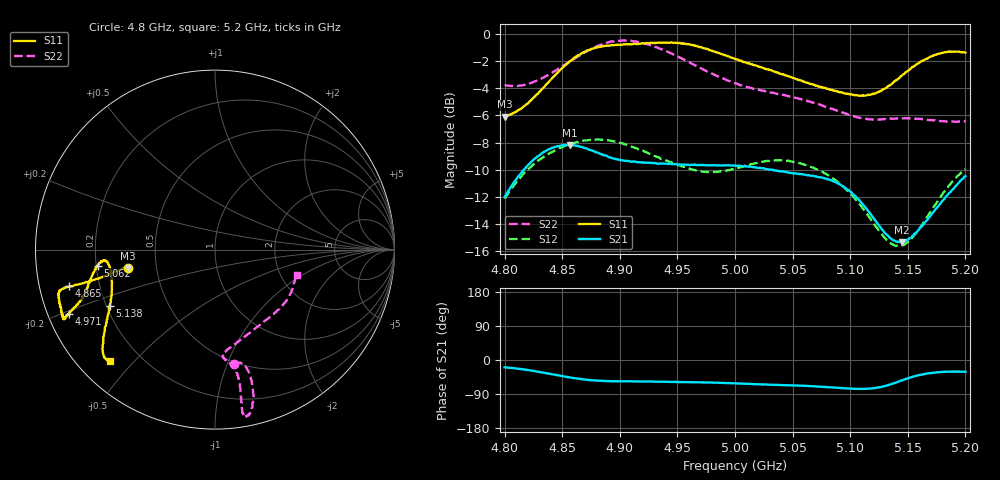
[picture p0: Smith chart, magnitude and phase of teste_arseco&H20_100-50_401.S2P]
! Network Analyzer HP8722D
! Hewlett-Packard
! Data name: Linha & Wilkinson
! Saver's name: Rodrigo Anjos
! Comments: Teste da utilização de aquisição
! continua pelo VNA HP8722D
! Time and date: 6/5/2025 15:54
!  Frequency  S11  S21  S12  S22
# HZ  S  MA R 50
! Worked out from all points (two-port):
!   401 points, 4.8 GHz to 5.2 GHz, reference 50 ohm
!   highest |S21| = -8.17 dB at 4.857 GHz (marker M1); lowest = -15.3 dB at 5.145 GHz (marker M2)
!   |S21| within 3 dB of the highest: 4.806 GHz to 5.093 GHz (286.5 MHz wide, 5.79 % of centre); 5.192021 GHz to end of sweep
!   lowest |S11| = -6.1 dB at 4.8 GHz (marker M3), VSWR 2.97, Z = 17 - j4.61 ohm
!   |S11| at or under -10 dB: nowhere
!   |S22| runs from -6.5 to -0.5 dB; largest |S21 - S12| = 0.62
!   S11 on the Smith chart (normalised r, x): 4.8 GHz: 0.34, -0.09; 4.865 GHz: 0.09, -0.12; 4.971 GHz: 0.06, -0.21; 5.062 GHz: 0.21, -0.07; 5.138 GHz: 0.21, -0.24; 5.2 GHz: 0.09, -0.43
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4.8e9  0.496 -168.1  0.2512 -19.4  0.248 -140.7  0.6484 -80.4
4.828e9  0.5993 -167.0  0.3528 -30.3  0.3381 -144.5  0.6735 -75.4
4.857e9  0.7948 -165.8  0.3906 -46.0  0.3926 -150.0  0.792 -74.6
4.865e9  0.8371 -165.9  0.3851 -49.7  0.4013 -151.5  0.8324 -75.2
4.867e9  0.8475 -165.8  0.3838 -50.6  0.4034 -151.8  0.842 -75.3
4.881e9  0.8931 -165.2  0.3655 -54.3  0.4092 -154.2  0.9043 -76.8
4.899e9  0.9114 -162.7  0.3445 -56.3  0.3987 -156.5  0.9432 -78.9
4.934e9  0.9276 -156.3  0.3328 -57.3  0.3511 -155.5  0.8844 -80.4
4.951e9  0.9247 -155.3  0.3307 -58.2  0.3286 -152.4  0.8228 -79.9
4.971e9  0.8912 -156.2  0.3289 -59.1  0.3116 -146.4  0.746 -79.5
5e9  0.8098 -159.0  0.3275 -61.7  0.3199 -137.1  0.6574 -81.3
5.038e9  0.717 -166.0  0.3121 -65.9  0.343 -134.3  0.6009 -85.9
5.062e9  0.66 -172.1  0.3024 -68.3  0.3289 -136.2  0.5687 -83.8
5.067e9  0.6524 -172.9  0.301 -68.9  0.3228 -136.6  0.5596 -82.7
5.087e9  0.6173 -174.3  0.2854 -73.0  0.2897 -138.4  0.5248 -74.8
5.103e9  0.5967 -171.4  0.2559 -76.0  0.251 -138.5  0.498 -65.4
5.116e9  0.5974 -165.6  0.222 -75.7  0.2133 -135.5  0.4848 -55.9
5.134e9  0.646 -154.3  0.1784 -65.3  0.1709 -120.8  0.4871 -43.3
5.138e9  0.6671 -151.8  0.1739 -61.4  0.1671 -115.7  0.4872 -40.8
5.145e9  0.7027 -148.1  0.1713 -53.5  0.1668 -106.3  0.4885 -36.9
5.174e9  0.838 -138.4  0.226 -32.9  0.2356 -80.2  0.4789 -23.8
5.2e9  0.852 -133.5  0.2996 -31.3  0.318 -76.7  0.4768 -17.4
